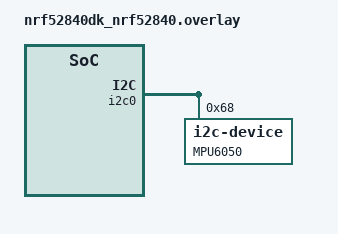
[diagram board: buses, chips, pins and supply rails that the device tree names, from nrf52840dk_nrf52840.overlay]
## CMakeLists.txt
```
# SPDX-License-Identifier: Apache-2.0

cmake_minimum_required(VERSION 3.20.0)
find_package(Zephyr REQUIRED HINTS $ENV{ZEPHYR_BASE})
project(wsnDrivers)

target_sources(app PRIVATE src/main.c)
```

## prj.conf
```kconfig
CONFIG_GPIO=y
CONFIG_I2C=y
CONFIG_CBPRINTF_FP_SUPPORT=y
CONFIG_SENSOR=y
```

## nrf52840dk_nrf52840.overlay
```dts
// To get started, press Ctrl+Space to bring up the completion menu and view the available nodes.

// You can also use the buttons in the sidebar to perform actions on nodes.
// Actions currently available include:

// * Enabling / disabling the node
// * Adding the bus to a bus
// * Removing the node
// * Connecting ADC channels

// For more help, browse the DeviceTree documentation at https://docs.zephyrproject.org/latest/guides/dts/index.html
// You can also visit the nRF DeviceTree extension documentation at https://docs.nordicsemi.com/bundle/nrf-connect-vscode/page/guides/ncs_configure_app.html#devicetree-support-in-the-extension

&i2c0 {
    
    mpu6050: mpu6050@68{
        compatible = "i2c-device";
        reg = <0x68>;
        label = "MPU6050";
    };
};
```

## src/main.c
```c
/**
 ******************************************************************************
 * @file           : main.c
 * @author         : LorisRT
 * @brief          : driver and sample developpement for nRF52840 with zephir
 ******************************************************************************
 * @attention
 *
 * This software is licensed under terms that can be found in the LICENSE file
 * in the root directory of this software component.
 * If no LICENSE file comes with this software, it is provided AS-IS.
 *
 ******************************************************************************
 */
/*
 Doc. for identifier: 
 https://stackoverflow.com/questions/75908381/cannot-get-device-binding-in-zephyr

 Doc for phandle (e.i.: property of node):
 https://docs.zephyrproject.org/latest/build/dts/phandles.html

 Doc. for function call:
 https://stackoverflow.com/questions/35186290/c-struct-object-stack-function-call-is-not-allowed-in-constant-expression-err

 Doc. for GPIO with devicetree:
 https://docs.nordicsemi.com/bundle/ncs-latest/page/zephyr/hardware/peripherals/gpio.html#structgpio__dt__spec

 Doc. for I2C example from Nordic artile:
 https://devzone.nordicsemi.com/guides/nrf-connect-sdk-guides/b/peripherals/posts/twi-ic2-implementation-with-nrfx-twis-driver
*/

#include <zephyr/kernel.h>
#include <zephyr/drivers/gpio.h>
#include <zephyr/sys/printk.h>
#include <hal/nrf_gpio.h>
#include <zephyr/drivers/i2c.h>

#include "app_mpu6050.h"

#define SUCCESS 0


/* CODE EXECUTION DEFINE VARIABLERS */
#define LAUNCH_CODE_DEVACADEMY_EXAMPLE_REQUIRED false
#define LAUNCH_CODE_WSN_0_EXAMPLE_REQUIRED false
#define LAUNCH_CODE_WSN_1_EXAMPLE_REQUIRED false
#define LAUNCH_CODE_WSN_2_EXAMPLE_REQUIRED false
#define LAUNCH_CODE_WSN_I2C_EXAMPLE_REQUIRED false
#define LAUNCH_CODE_I2C_FOR_MPU6050_REQUIRED true

#define END_MESSAGE_FOR_EXAMPLES "End of code reach successfully\n"
#define END_MESSAGE_UNEXPECTED_OUTPUT "Reached end return, unexpected error in code"


/* 1000 msec = 1 sec */
#define SLEEP_TIME_MS   150
#define LIMIT_COUNT_BLINKING 1000



/* MPU6050 REGISTER DEFINITION */
#define MPU6050_WHO_AM_I_REG 0x75
#define MPU6050_PWR_MGMT_A_REG 0x6b
#define ACC_LSB 16384.0f /* [LSB/g] */
#define GRAVITY 9.80665f



/* Define for LAUNCH_CODE_WDN_0_EXAMPLE_REQUIRED */
#define P0_BASE_ADDRESS 0x50000000
#define GPIO_OUT_OFFSET_REG 0x504
#define GPIO_OUTSET_OFFSET_REG 0x508
#define GPIO_DIR_OFFSET_REG 0x514
#define GPIO_DIRSET_OFFSET_REG 0x518
#define CLOCK_BASE_ADDRESS 0x40000000
#define CLOCK_HFCLKSTAT_OFFSET_REG 0x40c
#define CLOCK_LFCLKSTAT_OFFSET_REG 0x418
volatile uint32_t *p_gpio_out_reg = (volatile uint32_t *) (P0_BASE_ADDRESS + GPIO_OUT_OFFSET_REG);
volatile uint32_t *p_gpio_outset_reg = (volatile uint32_t *) (P0_BASE_ADDRESS + GPIO_OUTSET_OFFSET_REG);
volatile uint32_t *p_gpio_dir_reg = (volatile uint32_t *) (P0_BASE_ADDRESS + GPIO_DIR_OFFSET_REG);
volatile uint32_t *p_gpio_dirset_reg = (volatile uint32_t *) (P0_BASE_ADDRESS + GPIO_DIRSET_OFFSET_REG);
volatile uint32_t *p_clk_hfclkstat = (volatile uint32_t *) (CLOCK_BASE_ADDRESS + CLOCK_HFCLKSTAT_OFFSET_REG);
volatile uint32_t *p_clk_lfclkstat = (volatile uint32_t *) (CLOCK_BASE_ADDRESS + CLOCK_LFCLKSTAT_OFFSET_REG);
#define GPIO_PIN_13_LED1 13



/* Define for LAUNCH_CODE_WSN_I2C_EXAMPLE_REQUIRED */
#define ERROR_MESSAGE_WRITE_FAIL_IN_I2C "Could not perform a I2C write for the LAUNCH_CODE_WSN_I2C_EXAMPLE"
#define I2C0_NODE DT_NODELABEL(mpu6050)
static const struct i2c_dt_spec i2c_device_mpu6050 = I2C_DT_SPEC_GET(I2C0_NODE);



/* Define for LAUNCH_CODE_WSN_2_EXAMPLE_REQUIRED */
// Doc: https://docs.nordicsemi.com/bundle/ncs-latest/page/zephyr/hardware/peripherals/gpio.html#group__gpio__interface_1ga2fa6bb5880f46984f9fc29c70f7d503e
#define LED0_DK DT_ALIAS(led0)
// - GPIO_DT_SPEC_GET is a static initialiser for a struct gpio_dt_spec:
// requires: node_id and property name (see dts file for gpio led0 node)
// - gpio_dt_spec is a container (struct in C) for GPIO pin information speficied in dt
static const struct gpio_dt_spec ledFromDK = GPIO_DT_SPEC_GET(LED0_DK, gpios);
#define LED_ON_DT 1



/* Define for LAUNCH_CODE_WSN_1_EXAMPLE_REQUIRED */
#define ERROR_MESSAGE_GPIO_CONFIG "Could not configure GPIO in LAUNCH_CODE_WSN1_EXAMPLE\n"
#define ERROR_MESSAGE_GPIO_SET "Could not set GPIO in LAUNCH_CODE_WSN1_EXAMPLE\n"
#define GPIO_NODE_ID DT_NODELABEL(gpio0)
#define GPIO_NAME DEVICE_DT_NAME(GPIO_NODE_ID)
#define LED1_ON 0
#define LED1_OFF 1
const struct device *gpio_led_wsn_1;



/* Define for LAUNCH_CODE_DEVACADEMY_EXAMPLE_REQUIRED */
/* The devicetree node identifier for the "led0" alias. */
#define LED0_NODE DT_ALIAS(led0)
/*
 * A build error on this line means your board is unsupported.
 * See the sample documentation for information on how to fix this.
 */
static const struct gpio_dt_spec led = GPIO_DT_SPEC_GET(LED0_NODE, gpios);



int main(void)
{
	/* Extract MPU6050 inertial data with i2c protocol */
	if (LAUNCH_CODE_I2C_FOR_MPU6050_REQUIRED){

		uint16_t acc_x_reg = 0;
		uint16_t acc_y_reg = 0;
		uint16_t acc_z_reg = 0;

		int16_t ax = 0;
		int16_t ay = 0;
		int16_t az = 0;

		if (MPU6050_SUCCESS !=  mpu6050_sanity_check(&i2c_device_mpu6050)){
			printk("MPU6050: sanity check fail\n");
			return 0;
		}
		printk("MPU6050: sanity check done\n");

		if (MPU6050_SUCCESS != mpu6050_sleep_control(&i2c_device_mpu6050, false)){
			printk("MPU6050: sleep disable failed\n");
			return 0;
		}
		printk("MPU6050: sleep disable done\n");
		
		printk("MPU6050: begining of data acquisition:\n");
		while(MPU6050_SUCCESS == mpu6050_get_accel(&i2c_device_mpu6050, &acc_x_reg, &acc_y_reg, &acc_z_reg)){
			// ax = (int16_t) ((((float) (acc_x_reg))/ACC_LSB)*GRAVITY);
			// ay = (int16_t) ((((float) (acc_y_reg))/ACC_LSB)*GRAVITY);
			// az = (int16_t) ((((float) (acc_z_reg))/ACC_LSB)*GRAVITY);
			printk("MPU6050: ACCEL = (X = %d, Y = %d, Z = %d)\n", ax, ay, az);
			k_msleep(SLEEP_TIME_MS);
		}
		
		/* shoudl not get here, otherwire error during data acquisition */
		printk("MPU6050: error during data collection\n");
		while(true);
	}

	/* First example of i2c use with nrf and zephyr functions */
	if (LAUNCH_CODE_WSN_I2C_EXAMPLE_REQUIRED){
		if (false == device_is_ready(i2c_device_mpu6050.bus)){
			printk("I2C device not ready\n");
			return 0;
		}

		uint8_t config[1] = {MPU6050_WHO_AM_I_REG};
		
		if (SUCCESS != i2c_write_dt(&i2c_device_mpu6050, config, sizeof(config))){
			printk(ERROR_MESSAGE_WRITE_FAIL_IN_I2C);
			return 0;
		}

		printk(END_MESSAGE_FOR_EXAMPLES);
		while(true);
	}

	/* LED1 from nRF52840 DK blinking example */
	if (LAUNCH_CODE_WSN_2_EXAMPLE_REQUIRED){
		if (false == gpio_is_ready_dt(&ledFromDK)){
			return 0;
		}
		if (SUCCESS != gpio_pin_configure_dt(&ledFromDK, GPIO_OUTPUT)){
			return 0;
		}
		// WARNING: LED ON from dt functions is set with 1 (not 0 as opposed to other example)
		if (SUCCESS != gpio_pin_set_dt(&ledFromDK, LED_ON_DT)){
			return 0;
		}
		printk(END_MESSAGE_FOR_EXAMPLES);
		while(true);
	}

	/* Original blinking LED example for nRF52840 DK */
	if (LAUNCH_CODE_DEVACADEMY_EXAMPLE_REQUIRED){
		int ret;
		int count = 0;

		if (!gpio_is_ready_dt(&led)) {
			return 0;
		}

		ret = gpio_pin_configure_dt(&led, GPIO_OUTPUT_ACTIVE);
		if (ret < 0) {
			return 0;
		}

		while (1) {
			ret = gpio_pin_toggle_dt(&led);
			if (ret < 0) {
				return 0;
			}
			k_msleep(SLEEP_TIME_MS);
			printk("Blink n°%d\n", ++count);
			if (count > LIMIT_COUNT_BLINKING){
				count = 0;
			}
		}
	}    

	/* LED1 from nRF52840 DK blinking example */
	if (LAUNCH_CODE_WSN_1_EXAMPLE_REQUIRED){
		//printk(GPIO_NAME);
		gpio_led_wsn_1 = device_get_binding(GPIO_NAME);
		if (SUCCESS != gpio_pin_configure(gpio_led_wsn_1, GPIO_PIN_13_LED1, GPIO_OUTPUT)){
			printk(ERROR_MESSAGE_GPIO_CONFIG);
			return 0;
		}
		if (SUCCESS != gpio_pin_set(gpio_led_wsn_1, GPIO_PIN_13_LED1, LED1_ON)){
			printk(ERROR_MESSAGE_GPIO_SET);
			return 0;
		}
		printk(END_MESSAGE_FOR_EXAMPLES);
		while(true);
	}

	/* Baremetal programming of LED1 blinking example */
	if (LAUNCH_CODE_WSN_0_EXAMPLE_REQUIRED){

		printk("Enters WSN_0 condition\n");

		/* Check CLK status */
		printk("HFCLKSTAT reg: 0x%08x\n", *p_clk_hfclkstat);
		printk("LFCLKSTAT reg: 0x%08x\n", *p_clk_lfclkstat);

		/* Configure GPIO */
		*p_gpio_dir_reg |= (1 << GPIO_PIN_13_LED1);
		*p_gpio_out_reg |= (0 << GPIO_PIN_13_LED1);
		printk("register gpio_dir_reg configured as: 0x%08x\n", *p_gpio_dir_reg);
		printk("register gpio_out_reg configured as: 0x%08x\n", *p_gpio_out_reg);

		while(true);
	}

	/* Should never reach here */
	printk(END_MESSAGE_UNEXPECTED_OUTPUT);
	return 0;
}
```

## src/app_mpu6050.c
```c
#include "app_mpu6050.h"


/**
 * @brief function to read acceleration values from mpu6050 ACCEL_OUT registers, i.e.: from 0x3b to 0x40
 */
MPU6050_STATUS_e mpu6050_get_accel(const struct i2c_dt_spec * device_mpu6050, uint16_t * ax, uint16_t * ay, uint16_t * az){
    uint8_t temp_buffer[SIZE_OF_ACCEL_OUT_REG_FOR_BURST_READ] = {0};
    
    if (SUCCESS != i2c_burst_read_dt(device_mpu6050, MPU6050_ACCEL_XOUT_H, temp_buffer, SIZE_OF_ACCEL_OUT_REG_FOR_BURST_READ)){
        return MPU6050_READ_ERROR;
    }
    else{
        *ax = (uint16_t)((temp_buffer[0]<<8) | (temp_buffer[1]<<0));
        *ay = (uint16_t)((temp_buffer[2]<<8) | (temp_buffer[3]<<0));
        *az = (uint16_t)((temp_buffer[4]<<8) | (temp_buffer[5]<<0));
        return MPU6050_SUCCESS;
    }

    return MPU6050_UNEXPECTED_ERROR;
}

/**
 * @brief function checking the availability of the mpu6050 through i2c
 */
MPU6050_STATUS_e mpu6050_sanity_check(const struct i2c_dt_spec * device_mpu6050){
    uint8_t who_am_i_check = 0x00;
    uint8_t mpu6050_who_am_i_reg = MPU6050_WHO_AM_I_REG;

    if (false == device_is_ready(device_mpu6050->bus)){
			return MPU6050_DEVICE_NOT_READY;
	}

    if (SUCCESS != i2c_write_read_dt(device_mpu6050, &mpu6050_who_am_i_reg, 1, &who_am_i_check, 1)){
        return MPU6050_READ_ERROR;
    }

    if (0x68 == who_am_i_check){
		return MPU6050_SUCCESS;
	}
    else{
        return MPU6050_CHECK_SANITY_ERROR;
    }

    return MPU6050_UNEXPECTED_ERROR;
}


/**
 * @brief function to enable or disable sleep mode of the mpu6050
 */
MPU6050_STATUS_e mpu6050_sleep_control(const struct i2c_dt_spec * device_mpu6050, bool sleep_on_status_value){
    uint8_t pwr_mgmt_1_value = 0x00;
    uint8_t mpu6050_pwr_mgmt_1_reg =  MPU6050_PWR_MGMT_1_REG;

    uint8_t config[SIZE_OF_CONFIG_ARRAY_FOR_WRITE_READ] = {0};

    /* Get pwr_mgmt_1_reg value */
    if (SUCCESS != i2c_write_read_dt(device_mpu6050, &mpu6050_pwr_mgmt_1_reg, 1, &pwr_mgmt_1_value, 1)){
        return MPU6050_READ_ERROR;
    }

    if (true == sleep_on_status_value){
        pwr_mgmt_1_value &= (uint8_t)(~(0<<6)); // enable sleep bit
        config[0] = MPU6050_PWR_MGMT_1_REG;
        config[1] = pwr_mgmt_1_value;
        if (SUCCESS != i2c_write_dt(device_mpu6050, config, SIZE_OF_CONFIG_ARRAY_FOR_WRITE_READ)){
            return MPU6050_WRITE_ERROR;
        }
        return MPU6050_SUCCESS;
    }
    else{
        pwr_mgmt_1_value &= (uint8_t)(~(1<<6)); // disable sleep bit 
        config[0] = MPU6050_PWR_MGMT_1_REG;
        config[1] = pwr_mgmt_1_value;
        if (SUCCESS != i2c_write_dt(device_mpu6050, config, SIZE_OF_CONFIG_ARRAY_FOR_WRITE_READ)){
            return MPU6050_WRITE_ERROR;
        }
        return MPU6050_SUCCESS;
    }

    return MPU6050_UNEXPECTED_ERROR;
}
```

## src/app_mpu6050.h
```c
#ifndef APP_MPU6050_H_
#define APP_MPU6050_H_

#include <zephyr/kernel.h>
#include <zephyr/drivers/gpio.h>
#include <zephyr/sys/printk.h>
#include <hal/nrf_gpio.h>
#include <zephyr/drivers/i2c.h>

#define SUCCESS 0
#define MPU6050_WHO_AM_I_REG 0x75
#define MPU6050_PWR_MGMT_1_REG 0x6b

#define SIZE_OF_CONFIG_ARRAY_FOR_WRITE_READ 2

typedef enum {
    MPU6050_SUCCESS,
    MPU6050_DEVICE_NOT_READY,
    MPU6050_CHECK_SANITY_ERROR,
    MPU6050_READ_ERROR,
    MPU6050_WRITE_ERROR,
    MPU6050_UNEXPECTED_ERROR
} MPU6050_STATUS_e;

/* Function prototype */
MPU6050_STATUS_e mpu6050_sanity_check(const struct i2c_dt_spec *);
MPU6050_STATUS_e mpu6050_sleep_control(const struct i2c_dt_spec *, bool);

#endif 
```
